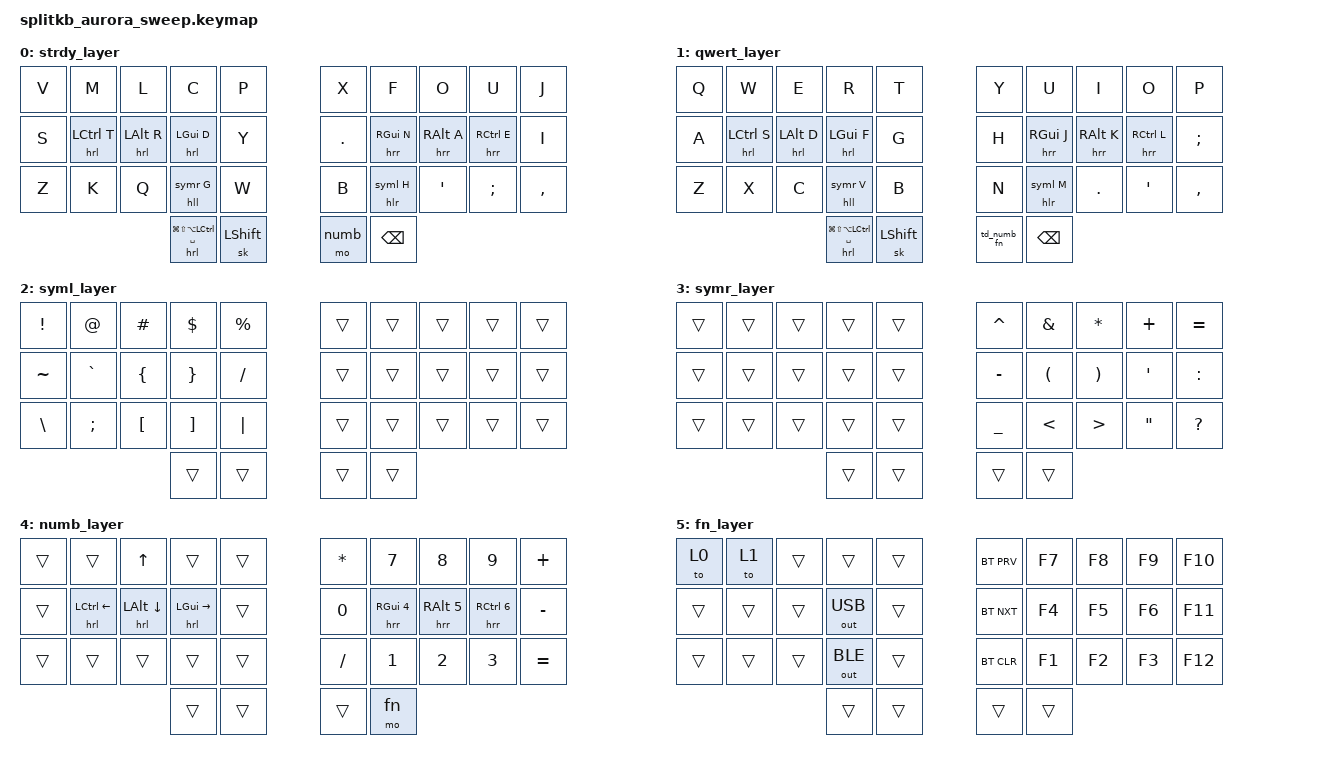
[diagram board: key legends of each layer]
#include <behaviors.dtsi>
#include <dt-bindings/zmk/keys.h>
#include <dt-bindings/zmk/bt.h>
#include <dt-bindings/zmk/outputs.h>
#include <dt-bindings/zmk/ext_power.h>

#include "../zmk-nodefree-config/helper.h"
#include "../zmk-nodefree-config/keypos_def/keypos_34keys.h"

#define strdy   0
#define qwert   1
#define syml    2
#define symr    3
#define numb    4
#define fn      5
#define sym     6

#define QUICK_TAP_MS 175

// Homerow mods config

#define KEYS_L LT0 LT1 LT2 LT3 LT4 LM0 LM1 LM2 LM3 LM4 LB0 LB1 LB2 LB3 LB4  // left hand
#define KEYS_R RT0 RT1 RT2 RT3 RT4 RM0 RM1 RM2 RM3 RM4 RB0 RB1 RB2 RB3 RB4  // right hand
#define THUMBS LH1 LH0 RH0 RH1                                              // thumbs

#define MAKE_HRM(NAME, HOLD, TAP, TRIGGER_POS) \
    ZMK_BEHAVIOR(NAME, hold_tap, \
        flavor = "balanced"; \
        tapping-term-ms = <280>; \
        quick-tap-ms = <QUICK_TAP_MS>; \
        require-prior-idle-ms = <150>; \
        bindings = <HOLD>, <TAP>; \
        hold-trigger-key-positions = <TRIGGER_POS>; \
        hold-trigger-on-release; \
    )

MAKE_HRM(hrl, &kp, &kp, KEYS_R THUMBS)  // left-hand HRMs
MAKE_HRM(hrr, &kp, &kp, KEYS_L THUMBS)  // right-hand HRMs

MAKE_HRM(hll, &mo, &kp, KEYS_R THUMBS)  // left-hand layer tap HRMs
MAKE_HRM(hlr, &mo, &kp, KEYS_L THUMBS)  // right-hand layer tap HRMs

MAKE_HRM(hsl, &mo, &sk, KEYS_R THUMBS)  // left-hand sticky layer tap HRMs
MAKE_HRM(hsr, &mo, &sk, KEYS_L THUMBS)  // right-hand sticky layer tap HRMs

&mt {
    flavor = "tap-preferred";
    tapping-term-ms = <220>;
    quick-tap-ms = <220>;
    hold-trigger-key-positions = <0>;
};

&lt {
    flavor = "tap-preferred";
    tapping-term-ms = <220>;
    quick-tap-ms = <220>;
    hold-trigger-key-positions = <0>;
};

#define COMBOS_TERM 50
#define BASE_COMBOS_MACRO(POSITION1, POSITION2, BINDING) \
base_combo_ ## POSITION1 ## _ ## POSITION2 { \
  layers = <0>; \
  key-positions = <POSITION1 POSITION2>; \
  bindings = <BINDING>; \
  timeout-ms = <COMBOS_TERM>; \
};
#define NUMB_COMBOS_MACRO(POSITION1, POSITION2, BINDING) \
numb_combo_ ## POSITION1 ## _ ## POSITION2 { \
  layers = <4>; \
  key-positions = <POSITION1 POSITION2>; \
  bindings = <BINDING>; \
  timeout-ms = <COMBOS_TERM>; \
};

/ {

    macros {
        ZMK_MACRO(macro_arrow,
            bindings = <&kp SPACE &kp EQUAL &kp GT &kp SPACE>;
        )
        ZMK_MACRO(macro_callback,
            bindings = <&kp LPAR &kp LPAR &kp RPAR &kp SPACE &kp EQUAL &kp GT &kp SPACE &kp LBRC>;
        )
    };

    behaviors {
        td_numb_fn: tap_dance_numb {
            compatible = "zmk,behavior-tap-dance";
            #binding-cells = <0>;
            tapping-term-ms = <150>;
            bindings = <&mo numb>, <&mo fn>;
        };
    };

    combos {
        compatible = "zmk,combos";
        // comments use main layout to more easily indicate combo key locations
        // tab: d,space
        BASE_COMBOS_MACRO(13, 31, &kp TAB)
        // enter: [bspc],n
        BASE_COMBOS_MACRO(16, 32, &kp RET)

        // // --- HOME ROW: LEFT TO RIGHT ---//
        // // left square bracket: s,t
        // BASE_COMBOS_MACRO(10, 11, &kp LBKT)
        // // left curly brace: t,r
        // BASE_COMBOS_MACRO(11, 12, &kp LBRC)
        // // left parenthesis: r,d
        // BASE_COMBOS_MACRO(12, 13, &kp LPAR)
        // // equals: d,
        // BASE_COMBOS_MACRO(13, 14, &kp EQUAL)
        // // colon: repeat,n
        // BASE_COMBOS_MACRO(15, 16, &kp COLON)
        // // right parenthesis: n,a
        // BASE_COMBOS_MACRO(16, 17, &kp RPAR)
        // // right curly brace: t,r
        // BASE_COMBOS_MACRO(17, 18, &kp RBRC)
        // // right square bracket: s,t
        // BASE_COMBOS_MACRO(18, 19, &kp RBKT)

        //---TOP ROW: LEFT TO RIGHT---//
        // escape: v,m
        BASE_COMBOS_MACRO(0, 1, &kp ESC)

        // // undo: m,l
        // BASE_COMBOS_MACRO(1, 2, &kp LG(Z))
        // // copy: l,c
        // BASE_COMBOS_MACRO(2, 3, &kp LG(C))
        // // cut: c,p
        // BASE_COMBOS_MACRO(3, 4, &kp LG(X))

        // (() => { : x,f
        NUMB_COMBOS_MACRO(5, 6, &macro_callback)
        // // paste: f,o
        // BASE_COMBOS_MACRO(6, 7, &kp LG(V))
        // // redo: o,u
        // BASE_COMBOS_MACRO(7, 8, &kp LG(LS(Z)))
        // => : u,j
        NUMB_COMBOS_MACRO(8, 9, &macro_arrow)

        //---TOP ROW: LEFT TO RIGHT---//
        // move to space to left: v + t
        NUMB_COMBOS_MACRO(0, 11, &kp LG(LS(LA(LC(P)))))
        // move to space to right: e + j
        NUMB_COMBOS_MACRO(9, 18, &kp LG(LS(LA(LC(N)))))
        // move window to space to left: z + k
        NUMB_COMBOS_MACRO(20, 21, &kp LG(LS(LC(P))))
        // move window to space to right: sqt + comma
        NUMB_COMBOS_MACRO(28, 29, &kp LG(LS(LC(N))))
        // focus window to left: q + g
        NUMB_COMBOS_MACRO(22, 23, &kp LG(LS(LA(LC(L)))))
        // focus window to right: h + dot
        NUMB_COMBOS_MACRO(26, 27, &kp LG(LS(LA(LC(R)))))
        // swap with window to left: k + q
        NUMB_COMBOS_MACRO(21, 22, &kp LG(LS(LC(L))))
        // swap with window to right: dot + sqt
        NUMB_COMBOS_MACRO(27, 28, &kp LG(LS(LC(R))))
    };

    keymap {
        compatible = "zmk,keymap";

        strdy_layer {
            bindings = <

            &kp V     &kp M        &kp L        &kp C           &kp P                &kp X       &kp F        &kp O        &kp U        &kp J
            &kp S     &hrl LCTRL T &hrl LALT R  &hrl LGUI D     &kp Y                &kp DOT     &hrr RGUI N  &hrr RALT A  &hrr RCTRL E &kp I
            &kp Z     &kp K        &kp Q        &hll symr G     &kp W                &kp B       &hlr syml H  &kp SQT      &kp SEMI     &kp COMMA
                                   &hrl LG(LS(LA(LCTRL))) SPACE &sk LSHFT            &mo numb    &kp BSPC

            >;
        };

        qwert_layer {
            bindings = <

            &kp Q     &kp W        &kp E        &kp R        &kp T                &kp Y       &kp U        &kp I        &kp O        &kp P
            &kp A     &hrl LCTRL S &hrl LALT D  &hrl LGUI F  &kp G                &kp H       &hrr RGUI J  &hrr RALT K  &hrr RCTRL L &kp SEMI
            &kp Z     &kp X        &kp C        &hll symr V  &kp B                &kp N       &hlr syml M  &kp DOT      &kp SQT      &kp COMMA
                                &hrl LG(LS(LA(LCTRL))) SPACE &sk LSHFT            &td_numb_fn &kp BSPC

            >;
        };


        syml_layer {
            bindings = <

            &kp EXCL   &kp AT     &kp HASH   &kp DLLR   &kp PRCNT            &trans     &trans     &trans     &trans     &trans
            &kp TILDE  &kp GRAVE  &kp LBRC   &kp RBRC   &kp SLASH            &trans     &trans     &trans     &trans     &trans
            &kp BSLH   &kp SEMI   &kp LBKT   &kp RBKT   &kp PIPE             &trans     &trans     &trans     &trans     &trans
                                             &trans     &trans               &trans     &trans

            >;
        };



        symr_layer {
            bindings = <

            &trans     &trans     &trans     &trans     &trans               &kp CARET  &kp AMPS   &kp STAR   &kp PLUS   &kp EQUAL
            &trans     &trans     &trans     &trans     &trans               &kp MINUS  &kp LPAR   &kp RPAR   &kp SQT    &kp COLON
            &trans     &trans     &trans     &trans     &trans               &kp UNDER  &kp LT     &kp GT     &kp DQT    &kp QMARK
                                             &trans     &trans               &trans     &trans

            >;
        };



        numb_layer {
            bindings = <

            &trans     &trans           &kp UP          &trans           &trans         &kp STAR   &kp N7        &kp N8        &kp N9         &kp PLUS
            &trans     &hrl LCTRL LEFT  &hrl LALT DOWN  &hrl LGUI RIGHT  &trans         &kp N0     &hrr RGUI N4  &hrr RALT N5  &hrr RCTRL N6  &kp MINUS
            &trans     &trans           &trans          &trans           &trans         &kp SLASH  &kp N1        &kp N2        &kp N3         &kp EQUAL
                                                        &trans           &trans         &trans     &mo fn

            >;
        };


        fn_layer {
            bindings = <

            &to 0       &to 1       &trans     &trans       &trans                       &bt BT_PRV     &kp F7      &kp F8     &kp F9     &kp F10
            &trans      &trans      &trans     &out OUT_USB &trans                       &bt BT_NXT     &kp F4      &kp F5     &kp F6     &kp F11
            &trans      &trans      &trans     &out OUT_BLE &trans                       &bt BT_CLR     &kp F1      &kp F2     &kp F3     &kp F12
                                               &trans       &trans                       &trans         &trans

            >;
        };
    };
};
